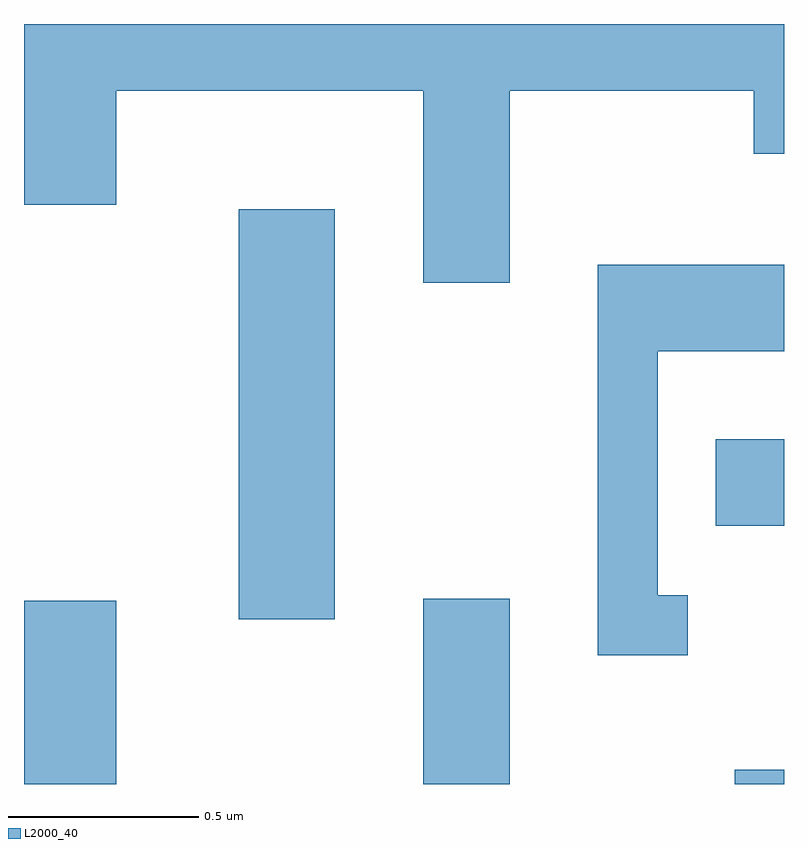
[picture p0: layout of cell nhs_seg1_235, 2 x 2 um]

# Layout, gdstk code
import gdstk
lib = gdstk.Library(unit=1e-6, precision=1e-09)
def R(c, l, rs):  # rectangles x0, y0, x1, y1
    for r in rs: c.add(gdstk.rectangle(r[:2], r[2:], *l))
def P(c, l, *ps):  # polygons
    for p in ps: c.add(gdstk.Polygon(p, *l))
L2000_40 = (2000, 40)

nhs_seg1_235 = lib.new_cell('nhs_seg1_235')
R(nhs_seg1_235, L2000_40, [(186.611,937.712,186.854,938.194), (187.661,937.712,187.889,938.199), (188.481,937.712,188.611,937.749), (187.176,938.146,187.429,939.224), (188.431,938.391,188.611,938.619)])
P(nhs_seg1_235, L2000_40, [(187.889,939.536),(188.531,939.536),(188.531,939.371),(188.611,939.371),(188.611,939.712),(186.611,939.712),(186.611,939.236),(186.854,939.236),(186.854,939.536),(187.661,939.536),(187.661,939.031),(187.889,939.031)],
  [(188.358,938.209),(188.279,938.209),(188.279,938.851),(188.611,938.851),(188.611,939.079),(188.121,939.079),(188.121,938.051),(188.358,938.051)])

lib.write_gds('nhs_seg1_235.gds')
